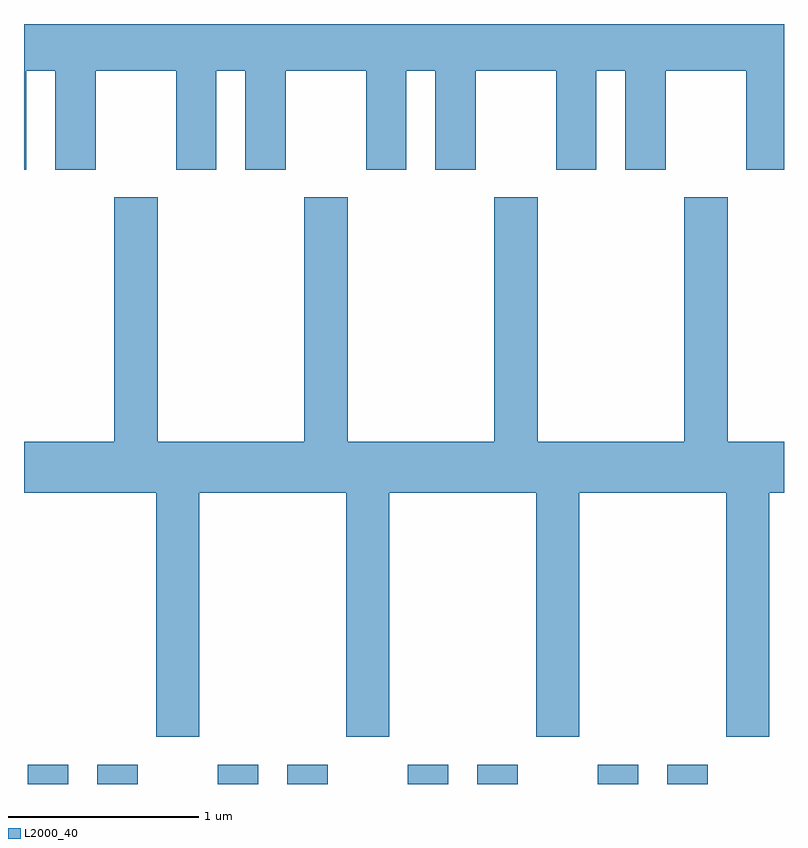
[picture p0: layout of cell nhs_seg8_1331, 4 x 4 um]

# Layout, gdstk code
import gdstk
lib = gdstk.Library(unit=1e-6, precision=1e-09)
def R(c, l, rs):  # rectangles x0, y0, x1, y1
    for r in rs: c.add(gdstk.rectangle(r[:2], r[2:], *l))
def P(c, l, *ps):  # polygons
    for p in ps: c.add(gdstk.Polygon(p, *l))
L2000_40 = (2000, 40)

nhs_seg8_1331 = lib.new_cell('nhs_seg8_1331')
R(nhs_seg8_1331, L2000_40, [(223.631,1930.342,223.844,1930.444), (223.996,1930.342,224.209,1930.444), (224.631,1930.342,224.844,1930.444), (224.996,1930.342,225.209,1930.444), (225.631,1930.342,225.844,1930.444), (225.996,1930.342,226.209,1930.444), (226.631,1930.342,226.844,1930.444), (226.996,1930.342,227.209,1930.444)])
P(nhs_seg8_1331, L2000_40, [(223.624,1934.096),(223.776,1934.096),(223.776,1933.576),(223.989,1933.576),(223.989,1934.096),(224.411,1934.096),(224.411,1933.576),(224.624,1933.576),(224.624,1934.096),(224.776,1934.096),(224.776,1933.576),(224.989,1933.576),(224.989,1934.096),(225.411,1934.096),(225.411,1933.576),(225.624,1933.576),(225.624,1934.096),(225.776,1934.096),(225.776,1933.576),(225.989,1933.576),(225.989,1934.096),(226.411,1934.096),(226.411,1933.576),(226.624,1933.576),(226.624,1934.096),(226.776,1934.096),(226.776,1933.576),(226.989,1933.576),(226.989,1934.096),(227.411,1934.096),(227.411,1933.576),(227.611,1933.576),(227.611,1934.342),(223.611,1934.342),(223.611,1933.576),(223.624,1933.576)],
  [(224.534,1931.876),(225.306,1931.876),(225.306,1930.591),(225.534,1930.591),(225.534,1931.876),(226.306,1931.876),(226.306,1930.591),(226.534,1930.591),(226.534,1931.876),(227.306,1931.876),(227.306,1930.591),(227.534,1930.591),(227.534,1931.876),(227.611,1931.876),(227.611,1932.144),(227.314,1932.144),(227.314,1933.429),(227.086,1933.429),(227.086,1932.144),(226.314,1932.144),(226.314,1933.429),(226.086,1933.429),(226.086,1932.144),(225.314,1932.144),(225.314,1933.429),(225.086,1933.429),(225.086,1932.144),(224.314,1932.144),(224.314,1933.429),(224.086,1933.429),(224.086,1932.144),(223.611,1932.144),(223.611,1931.876),(224.306,1931.876),(224.306,1930.591),(224.534,1930.591)])

lib.write_gds('nhs_seg8_1331.gds')
